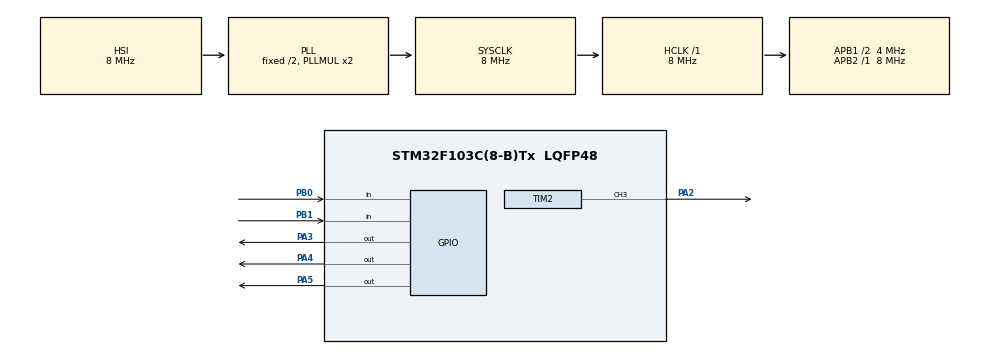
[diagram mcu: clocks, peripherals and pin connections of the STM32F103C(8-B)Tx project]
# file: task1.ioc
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Mcu.Family=STM32F1
Mcu.Name=STM32F103C(8-B)Tx
Mcu.Package=LQFP48
NVIC.PriorityGroup=NVIC_PRIORITYGROUP_4
PA13.Mode=Serial_Wire
PA13.Signal=SYS_JTMS-SWDIO
PA14.Mode=Serial_Wire
PA14.Signal=SYS_JTCK-SWCLK
PA2.Signal=S_TIM2_CH3
PA3.Signal=GPIO_Output
PA4.Signal=GPIO_Output
PA5.Signal=GPIO_Output
PB0.GPIO_PuPd=GPIO_PULLUP
PB0.Signal=GPIO_Input
PB1.GPIO_PuPd=GPIO_PULLUP
PB1.Signal=GPIO_Input
ProjectManager.HeapSize=0x200
ProjectManager.StackSize=0x400
ProjectManager.TargetToolchain=MDK-ARM V5.32
RCC.AHBFreq_Value=8000000
RCC.APB1CLKDivider=RCC_HCLK_DIV2
RCC.APB1Freq_Value=4000000
RCC.APB1TimFreq_Value=8000000
RCC.APB2Freq_Value=8000000
RCC.APB2TimFreq_Value=8000000
RCC.HCLKFreq_Value=8000000
RCC.SYSCLKFreq_VALUE=8000000
RCC.SYSCLKSource=RCC_SYSCLKSOURCE_PLLCLK
RCC.USBFreq_Value=8000000
SH.S_TIM2_CH3.0=TIM2_CH3,PWM Generation3 CH3
TIM2.AutoReloadPreload=TIM_AUTORELOAD_PRELOAD_ENABLE
TIM2.Channel-PWM\ Generation3\ CH3=TIM_CHANNEL_3
TIM2.Period=999
TIM2.Prescaler=7199
TIM2.Pulse-PWM\ Generation3\ CH3=500
VP_TIM2_VS_ClockSourceINT.Mode=Internal
board=custom

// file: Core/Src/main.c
/* USER CODE BEGIN Header */
/**
  ******************************************************************************
  * @file           : main.c
  * @brief          : ???:????RGB????
  ******************************************************************************
  * ????:
  *   PA2 -> ?? (PWM ??)
  *   PA3 -> ?? (??IO)
  *   PA4 -> ?? (???)
  *   PA5 -> ???
  *   PB0 -> ??1
  *   PB1 -> ??2
  ******************************************************************************
  */
/* USER CODE END Header */
#include "main.h"
#include "tim.h"
#include "gpio.h"

/* USER CODE BEGIN PTD */
typedef enum {
    GREEN_ON = 0,
    RED_ON,
    GREEN_BREATH
} RGB_Mode_t;

typedef enum {
    BEEP_ON = 0,
    BEEP_OFF,
    BEEP_BLINK
} Beep_Mode_t;
/* USER CODE END PTD */

/* USER CODE BEGIN PD */
#define PWM_MAX     1000
#define PWM_STEP    15
/* USER CODE END PD */

/* USER CODE BEGIN PV */
static RGB_Mode_t rgbMode = GREEN_ON;
static Beep_Mode_t beepMode = BEEP_ON;

// ???
static uint16_t pwmValue = 0;
static uint8_t pwmDir = 1;
static uint32_t lastBreathTime = 0;

// ?????
static uint32_t lastBeepTime = 0;
static uint8_t beepState = 0;

// ???????
static uint8_t key1State = 0;
static uint8_t key2State = 0;
static uint32_t key1PressTick = 0;
static uint32_t key2PressTick = 0;
static uint8_t key2Triggered = 0;

/* USER CODE END PV */

void SystemClock_Config(void);
/* USER CODE BEGIN PFP */
void SetRGBMode(RGB_Mode_t mode);
void SetBeepMode(Beep_Mode_t mode);
void Key_Scan(void);
void Breath_Process(void);
void Beep_Process(void);
void Enable_Key_PullUp(void);
/* USER CODE END PFP */

/* USER CODE BEGIN 0 */

// ????????????
void Enable_Key_PullUp(void)
{
    GPIO_InitTypeDef GPIO_InitStruct = {0};
    GPIO_InitStruct.Pin = GPIO_PIN_0 | GPIO_PIN_1;
    GPIO_InitStruct.Mode = GPIO_MODE_INPUT;
    GPIO_InitStruct.Pull = GPIO_PULLUP;
    HAL_GPIO_Init(GPIOB, &GPIO_InitStruct);
}

void SetRGBMode(RGB_Mode_t mode)
{
    rgbMode = mode;

    if(key2Triggered) return;

    switch(mode) {
        case GREEN_ON:
            HAL_GPIO_WritePin(GPIOA, GPIO_PIN_3, GPIO_PIN_RESET);
            HAL_GPIO_WritePin(GPIOA, GPIO_PIN_4, GPIO_PIN_RESET);
            __HAL_TIM_SET_COMPARE(&htim2, TIM_CHANNEL_3, PWM_MAX);
            break;
        case RED_ON:
            HAL_GPIO_WritePin(GPIOA, GPIO_PIN_3, GPIO_PIN_SET);
            HAL_GPIO_WritePin(GPIOA, GPIO_PIN_4, GPIO_PIN_RESET);
            __HAL_TIM_SET_COMPARE(&htim2, TIM_CHANNEL_3, 0);
            break;
        case GREEN_BREATH:
            HAL_GPIO_WritePin(GPIOA, GPIO_PIN_3, GPIO_PIN_RESET);
            HAL_GPIO_WritePin(GPIOA, GPIO_PIN_4, GPIO_PIN_RESET);
            pwmValue = 0;
            pwmDir = 1;
            __HAL_TIM_SET_COMPARE(&htim2, TIM_CHANNEL_3, 0);
            break;
    }
}

void SetBeepMode(Beep_Mode_t mode)
{
    beepMode = mode;

    switch(mode) {
        case BEEP_ON:
            HAL_GPIO_WritePin(GPIOA, GPIO_PIN_5, GPIO_PIN_SET);
            break;
        case BEEP_OFF:
            HAL_GPIO_WritePin(GPIOA, GPIO_PIN_5, GPIO_PIN_RESET);
            break;
        case BEEP_BLINK:
            HAL_GPIO_WritePin(GPIOA, GPIO_PIN_5, GPIO_PIN_RESET);
            beepState = 0;
            lastBeepTime = HAL_GetTick();
            break;
    }
}

void Key_Scan(void)
{
    uint8_t key1Now = HAL_GPIO_ReadPin(GPIOB, GPIO_PIN_0);
    uint8_t key2Now = HAL_GPIO_ReadPin(GPIOB, GPIO_PIN_1);
    uint32_t now = HAL_GetTick();

    // ??1:????
    switch(key1State) {
        case 0:
            if(key1Now == 0) {
                key1State = 1;
                key1PressTick = now;
            }
            break;
        case 1:
            if(key1Now == 0) {
                if(now - key1PressTick >= 30) {
                    switch(rgbMode) {
                        case GREEN_ON: SetRGBMode(RED_ON); break;
                        case RED_ON: SetRGBMode(GREEN_BREATH); break;
                        case GREEN_BREATH: SetRGBMode(GREEN_ON); break;
                    }
                    switch(beepMode) {
                        case BEEP_ON: SetBeepMode(BEEP_OFF); break;
                        case BEEP_OFF: SetBeepMode(BEEP_BLINK); break;
                        case BEEP_BLINK: SetBeepMode(BEEP_ON); break;
                    }
                    key1State = 2;
                }
            } else {
                key1State = 0;
            }
            break;
        case 2:
            if(key1Now == 1) {
                key1State = 0;
            }
            break;
    }

    // ??2:??????
    switch(key2State) {
        case 0:
            if(key2Now == 0) {
                key2State = 1;
                key2PressTick = now;
            }
            break;
        case 1:
            if(key2Now == 0) {
                if(now - key2PressTick >= 1000) {
                    key2Triggered = 1;
                    HAL_GPIO_WritePin(GPIOA, GPIO_PIN_3, GPIO_PIN_RESET);
                    HAL_GPIO_WritePin(GPIOA, GPIO_PIN_4, GPIO_PIN_RESET);
                    __HAL_TIM_SET_COMPARE(&htim2, TIM_CHANNEL_3, PWM_MAX);
                    key2State = 2;
                }
            } else {
                key2State = 0;
            }
            break;
        case 2:
            if(key2Now == 1) {
                key2Triggered = 0;
                SetRGBMode(rgbMode);
                key2State = 0;
            }
            break;
    }
}

void Breath_Process(void)
{
    if(rgbMode != GREEN_BREATH) return;
    if(key2Triggered) return;

    uint32_t now = HAL_GetTick();
    if(now - lastBreathTime >= 20) {
        lastBreathTime = now;

        if(pwmDir) {
            pwmValue += PWM_STEP;
            if(pwmValue >= PWM_MAX) {
                pwmValue = PWM_MAX;
                pwmDir = 0;
            }
        } else {
            if(pwmValue >= PWM_STEP) {
                pwmValue -= PWM_STEP;
            } else {
                pwmValue = 0;
                pwmDir = 1;
            }
        }
        __HAL_TIM_SET_COMPARE(&htim2, TIM_CHANNEL_3, pwmValue);
    }
}

void Beep_Process(void)
{
    if(beepMode != BEEP_BLINK) return;
    if(key2Triggered) return;

    uint32_t now = HAL_GetTick();
    if(now - lastBeepTime >= 500) {
        lastBeepTime = now;
        beepState = !beepState;
        HAL_GPIO_WritePin(GPIOA, GPIO_PIN_5, beepState ? GPIO_PIN_SET : GPIO_PIN_RESET);
    }
}

/* USER CODE END 0 */

int main(void)
{
    HAL_Init();
    SystemClock_Config();
    MX_GPIO_Init();
    MX_TIM2_Init();

    /* USER CODE BEGIN 2 */
    // ??????????
    Enable_Key_PullUp();

    HAL_TIM_PWM_Start(&htim2, TIM_CHANNEL_3);
    SetRGBMode(GREEN_ON);
    SetBeepMode(BEEP_ON);
    /* USER CODE END 2 */

    while (1)
    {
        Key_Scan();
        Breath_Process();
        Beep_Process();
        HAL_Delay(10);
    }
}

void SystemClock_Config(void)
{
    RCC_OscInitTypeDef RCC_OscInitStruct = {0};
    RCC_ClkInitTypeDef RCC_ClkInitStruct = {0};

    RCC_OscInitStruct.OscillatorType = RCC_OSCILLATORTYPE_HSI;
    RCC_OscInitStruct.HSIState = RCC_HSI_ON;
    RCC_OscInitStruct.HSICalibrationValue = RCC_HSICALIBRATION_DEFAULT;
    RCC_OscInitStruct.PLL.PLLState = RCC_PLL_ON;
    RCC_OscInitStruct.PLL.PLLSource = RCC_PLLSOURCE_HSI_DIV2;
    RCC_OscInitStruct.PLL.PLLMUL = RCC_PLL_MUL2;
    if(HAL_RCC_OscConfig(&RCC_OscInitStruct) != HAL_OK) { Error_Handler(); }

    RCC_ClkInitStruct.ClockType = RCC_CLOCKTYPE_HCLK | RCC_CLOCKTYPE_SYSCLK
                                | RCC_CLOCKTYPE_PCLK1 | RCC_CLOCKTYPE_PCLK2;
    RCC_ClkInitStruct.SYSCLKSource = RCC_SYSCLKSOURCE_PLLCLK;
    RCC_ClkInitStruct.AHBCLKDivider = RCC_SYSCLK_DIV1;
    RCC_ClkInitStruct.APB1CLKDivider = RCC_HCLK_DIV2;
    RCC_ClkInitStruct.APB2CLKDivider = RCC_HCLK_DIV1;
    if(HAL_RCC_ClockConfig(&RCC_ClkInitStruct, FLASH_LATENCY_0) != HAL_OK) { Error_Handler(); }
}

void Error_Handler(void)
{
    __disable_irq();
    while(1) {}
}
